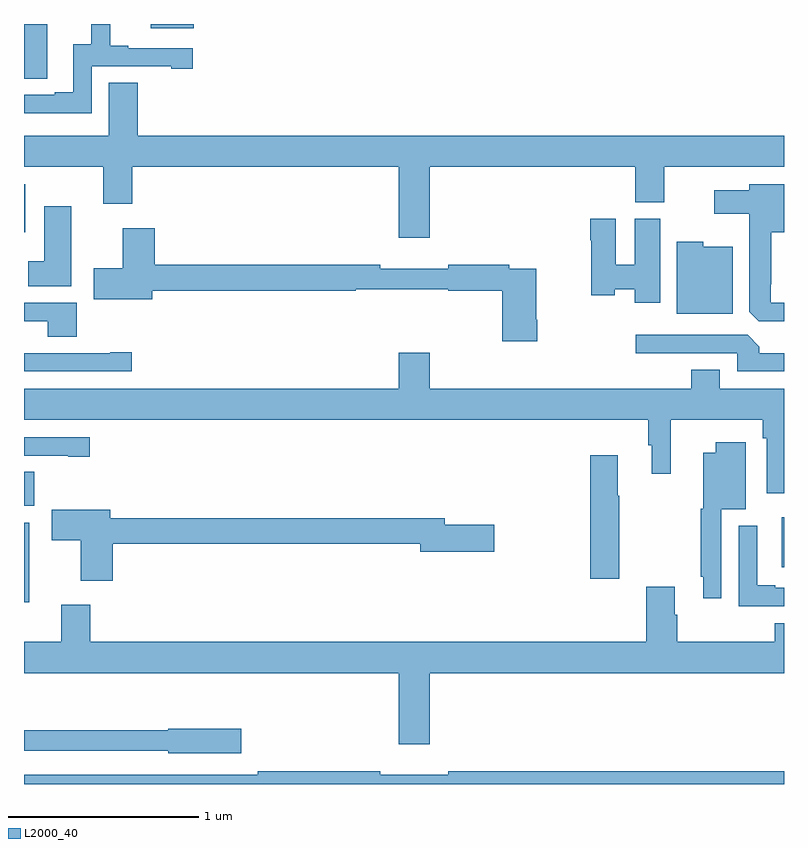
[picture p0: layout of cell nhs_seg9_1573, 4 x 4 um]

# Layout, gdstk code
import gdstk
lib = gdstk.Library(unit=1e-6, precision=1e-09)
def R(c, l, rs):  # rectangles x0, y0, x1, y1
    for r in rs: c.add(gdstk.rectangle(r[:2], r[2:], *l))
def P(c, l, *ps):  # polygons
    for p in ps: c.add(gdstk.Polygon(p, *l))
L2000_40 = (2000, 40)

nhs_seg9_1573 = lib.new_cell('nhs_seg9_1573')
R(nhs_seg9_1573, L2000_40, [(199,1199.457,199.027,1199.875), (202.988,1199.642,203,1199.905), (199,1199.964,199.055,1200.143), (199,1201.403,199.006,1201.657), (199.667,1202.477,199.894,1202.5)])
P(nhs_seg9_1573, L2000_40, [(199.122,1202.32),(199.123,1202.32),(199.123,1202.5),(199,1202.5),(199,1202.212),(199.122,1202.212)],
  [(199.356,1202.277),(199.775,1202.277),(199.775,1202.265),(199.888,1202.265),(199.888,1202.373),(199.549,1202.373),(199.549,1202.386),(199.454,1202.386),(199.454,1202.5),(199.354,1202.5),(199.354,1202.393),(199.259,1202.393),(199.259,1202.142),(199.163,1202.142),(199.163,1202.127),(199,1202.127),(199,1202.031),(199.356,1202.031)],
  [(201.136,1201.748),(202.217,1201.748),(202.217,1201.561),(202.369,1201.561),(202.369,1201.748),(203,1201.748),(203,1201.912),(199.598,1201.912),(199.598,1202.192),(199.445,1202.192),(199.445,1201.912),(199,1201.912),(199,1201.748),(199.418,1201.748),(199.418,1201.554),(199.571,1201.554),(199.571,1201.748),(200.972,1201.748),(200.972,1201.374),(201.136,1201.374)],
  [(203,1201.032),(202.929,1201.032),(202.929,1201.129),(202.933,1201.129),(202.933,1201.403),(203,1201.403),(203,1201.657),(202.817,1201.657),(202.817,1201.624),(202.632,1201.624),(202.632,1201.502),(202.817,1201.502),(202.817,1200.985),(202.866,1200.936),(203,1200.936)],
  [(199.249,1201.54),(199.106,1201.54),(199.106,1201.252),(199.022,1201.252),(199.022,1201.121),(199.249,1201.121)],
  [(202.348,1201.476),(202.214,1201.476),(202.214,1201.233),(202.114,1201.233),(202.114,1201.474),(201.98,1201.474),(201.98,1201.361),(201.985,1201.361),(201.985,1201.073),(202.11,1201.073),(202.11,1201.103),(202.214,1201.103),(202.214,1201.032),(202.348,1201.032)],
  [(201.701,1200.943),(201.696,1200.943),(201.696,1201.212),(201.554,1201.212),(201.554,1201.232),(201.232,1201.232),(201.232,1201.213),(200.876,1201.213),(200.876,1201.232),(199.688,1201.232),(199.688,1201.426),(199.52,1201.426),(199.52,1201.215),(199.368,1201.215),(199.368,1201.052),(199.675,1201.052),(199.675,1201.096),(200.746,1201.096),(200.746,1201.104),(201.234,1201.104),(201.234,1201.096),(201.518,1201.096),(201.518,1200.831),(201.701,1200.831)],
  [(202.729,1201.327),(202.575,1201.327),(202.575,1201.354),(202.436,1201.354),(202.436,1200.974),(202.729,1200.974)],
  [(199.277,1201.032),(199,1201.032),(199,1200.936),(199.124,1200.936),(199.124,1200.853),(199.277,1200.853)],
  [(203,1200.768),(202.871,1200.768),(202.871,1200.802),(202.809,1200.864),(202.221,1200.864),(202.221,1200.768),(202.755,1200.768),(202.755,1200.672),(203,1200.672)],
  [(199.567,1200.773),(199.454,1200.773),(199.454,1200.768),(199,1200.768),(199,1200.672),(199.567,1200.672)],
  [(203,1200.58),(202.663,1200.58),(202.663,1200.679),(202.511,1200.679),(202.511,1200.58),(201.136,1200.58),(201.136,1200.769),(200.972,1200.769),(200.972,1200.58),(199,1200.58),(199,1200.416),(202.285,1200.416),(202.285,1200.282),(202.304,1200.282),(202.304,1200.132),(202.404,1200.132),(202.404,1200.416),(202.888,1200.416),(202.888,1200.32),(202.908,1200.32),(202.908,1200.03),(203,1200.03)],
  [(199.345,1200.324),(199,1200.324),(199,1200.228),(199.232,1200.228),(199.232,1200.223),(199.345,1200.223)],
  [(202.671,1199.945),(202.798,1199.945),(202.798,1200.298),(202.64,1200.298),(202.64,1200.244),(202.574,1200.244),(202.574,1199.949),(202.563,1199.949),(202.563,1199.59),(202.574,1199.59),(202.574,1199.478),(202.671,1199.478)],
  [(202.134,1200.016),(202.126,1200.016),(202.126,1200.229),(201.98,1200.229),(201.98,1199.58),(202.134,1199.58)],
  [(199.466,1199.764),(201.086,1199.764),(201.086,1199.722),(201.475,1199.722),(201.475,1199.864),(201.214,1199.864),(201.214,1199.9),(199.453,1199.9),(199.453,1199.944),(199.146,1199.944),(199.146,1199.782),(199.298,1199.782),(199.298,1199.571),(199.466,1199.571)],
  [(203,1199.532),(202.954,1199.532),(202.954,1199.545),(202.858,1199.545),(202.858,1199.86),(202.761,1199.86),(202.761,1199.436),(203,1199.436)],
  [(199.349,1199.443),(199.196,1199.443),(199.196,1199.248),(199,1199.248),(199,1199.084),(200.972,1199.084),(200.972,1198.71),(201.136,1198.71),(201.136,1199.084),(203,1199.084),(203,1199.346),(202.952,1199.346),(202.952,1199.248),(202.439,1199.248),(202.439,1199.39),(202.426,1199.39),(202.426,1199.539),(202.274,1199.539),(202.274,1199.248),(199.349,1199.248)],
  [(200.143,1198.791),(199.758,1198.791),(199.758,1198.783),(199,1198.783),(199,1198.674),(199.758,1198.674),(199.758,1198.661),(200.143,1198.661)],
  [(203,1198.568),(201.232,1198.568),(201.232,1198.549),(200.876,1198.549),(200.876,1198.568),(200.23,1198.568),(200.23,1198.548),(199,1198.548),(199,1198.5),(203,1198.5)])

lib.write_gds('nhs_seg9_1573.gds')
